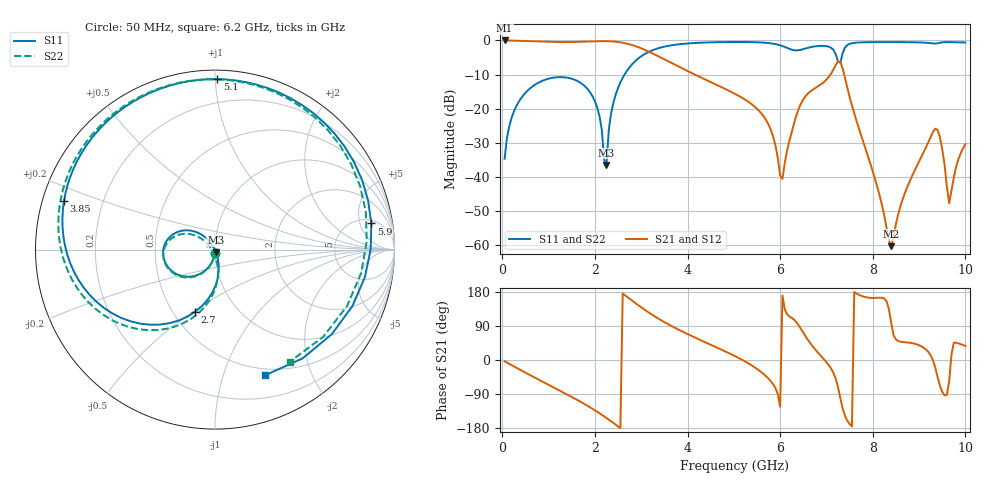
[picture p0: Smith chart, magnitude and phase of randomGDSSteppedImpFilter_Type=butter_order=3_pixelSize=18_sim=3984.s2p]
! freq	dB(S11)	phase(S11)	dB(S12)	phase(S12)
!  dB(S21)	phase(S21)	dB(S22)	phase(S22)
!S-par simulation data
#  GHz  S  DB  R 50
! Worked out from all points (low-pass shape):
!   200 points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, 50 MHz to 10 GHz, reference 50 ohm
!   highest |S21| = -0.01 dB at 50 MHz (marker M1); lowest = -60.2 dB at 8.4 GHz (marker M2)
!   |S21| within 3 dB of the highest: start of sweep to 3.119 GHz
!   lowest |S11| = -36.5 dB at 2.25 GHz (marker M3), VSWR 1.03, Z = 50.4 - j1.44 ohm
!   |S11| at or under -10 dB: start of sweep to 2.64 GHz
!   |S22| runs from -34.6 to -0.4 dB; largest |S21 - S12| = 0
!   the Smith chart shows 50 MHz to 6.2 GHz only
!   S11 on the Smith chart (normalised r, x): 50 MHz: 1.00, -0.04; 2.7 GHz: 0.64, -0.51; 3.85 GHz: 0.06, +0.16; 5.1 GHz: 0.05, +1.01; 5.9 GHz: 5.81, +7.69; 6.2 GHz: 0.43, -1.39
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0.05  -34.61 -93.3  -0.01 -3.4  -0.01 -3.4  -34.61 -93.2
0.55  -14.63 -127.9  -0.20 -36.6  -0.20 -36.6  -14.64 -126.4
1.75  -13.01 153.0  -0.37 -114.4  -0.37 -114.4  -13.00 158.9
2.25  -36.48 -72.1  -0.22 -153.0  -0.22 -153.0  -33.12 -110.5
2.4  -18.18 -80.3  -0.32 -166.2  -0.32 -166.2  -18.08 -82.1
2.7  -8.73 -107.9  -0.96 166.2  -0.96 166.2  -8.71 -104.6
3.4  -2.16 -167.7  -4.84 107.0  -4.84 107.0  -2.15 -160.9
3.85  -1.07 162.3  -7.95 77.3  -7.95 77.3  -1.07 170.7
5.05  -0.45 92.5  -15.82 8.8  -15.82 8.8  -0.44 105.1
5.1  -0.45 89.3  -16.18 5.6  -16.18 5.6  -0.44 102.1
5.9  -1.08 9.5  -30.81 -74.6  -30.81 -74.6  -1.09 23.6
6.05  -1.64 -22.4  -40.54 169.9  -40.54 169.9  -1.67 -9.1
6.2  -2.46 -68.2  -29.37 114.8  -29.37 114.8  -2.49 -56.3
6.45  -2.72 -162.5  -18.44 81.7  -18.44 81.7  -2.63 -150.3
6.7  -1.85 133.6  -14.45 36.4  -14.45 36.4  -1.79 148.7
7.3  -6.52 88.2  -6.27 -100.8  -6.27 -100.8  -6.68 107.1
7.55  -0.81 68.4  -19.04 -175.6  -19.04 -175.6  -0.82 87.7
8.35  -0.48 19.4  -58.66 133.2  -58.66 133.2  -0.47 39.3
8.4  -0.48 17.0  -60.22 96.9  -60.22 96.9  -0.47 36.9
9.35  -0.93 -21.1  -25.82 -20.4  -25.82 -20.4  -0.93 -2.3
9.65  -0.49 -32.3  -47.67 -55.6  -47.67 -55.6  -0.48 -13.8
10  -0.59 -46.0  -30.32 37.3  -30.32 37.3  -0.56 -28.2
